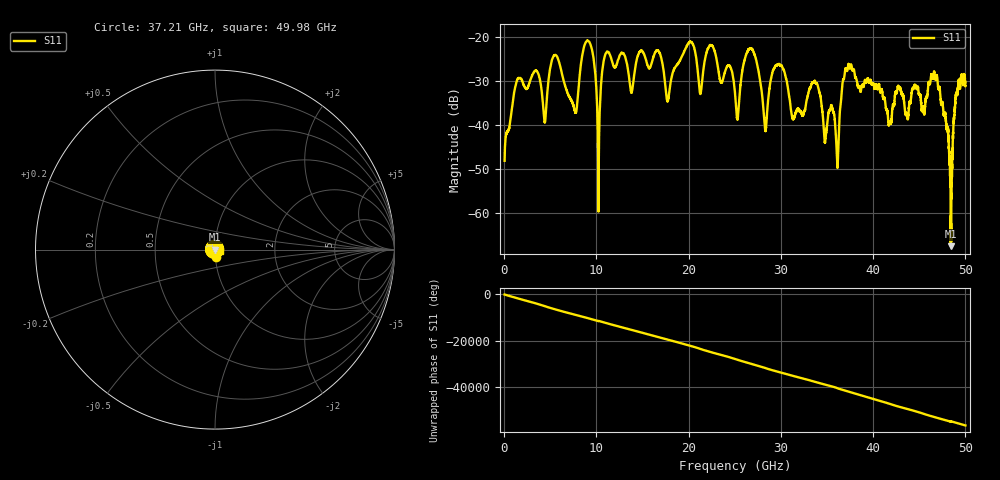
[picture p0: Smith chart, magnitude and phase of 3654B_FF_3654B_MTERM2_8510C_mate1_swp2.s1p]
!Created with skrf (http://scikit-rf.org).
# Hz S RI R 50.0
!freq ReS11 ImS11
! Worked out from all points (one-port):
!   10001 points, 45 MHz to 50 GHz, reference 50 ohm
!   lowest |S11| = -67.5 dB at 48.42 GHz (marker M1), VSWR 1.00, Z = 50 - j0.0205 ohm
!   |S11| at or under -10 dB: start of sweep to end of sweep
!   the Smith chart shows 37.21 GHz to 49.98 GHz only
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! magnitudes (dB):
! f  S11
! 45 MHz  -48.1
! 1.529 GHz  -29.3
! 4.386 GHz  -39.3
! 5.305 GHz  -24.5
! 6.289 GHz  -28.5
! 7.713 GHz  -37.1
! 9.197 GHz  -20.9
! 10.24 GHz  -54.3
! 10.95 GHz  -24.0
! 12.53 GHz  -24.1
! 17.72 GHz  -34.6
! 18.78 GHz  -26.1
! 20.32 GHz  -21.1
! 21.3 GHz  -32.8
! 22.47 GHz  -21.8
! 25.02 GHz  -32.8
! 26.74 GHz  -22.5
! 28.28 GHz  -40.9
! 29.65 GHz  -26.2
! 31.27 GHz  -38.4
! 33.74 GHz  -30.1
! 36.1 GHz  -48.8
! 37.51 GHz  -26.8
! 43.76 GHz  -38.7
! 46.75 GHz  -29.6
! 48.42 GHz  -67.5
! 49.09 GHz  -32.9
! 50 GHz  -31.1
